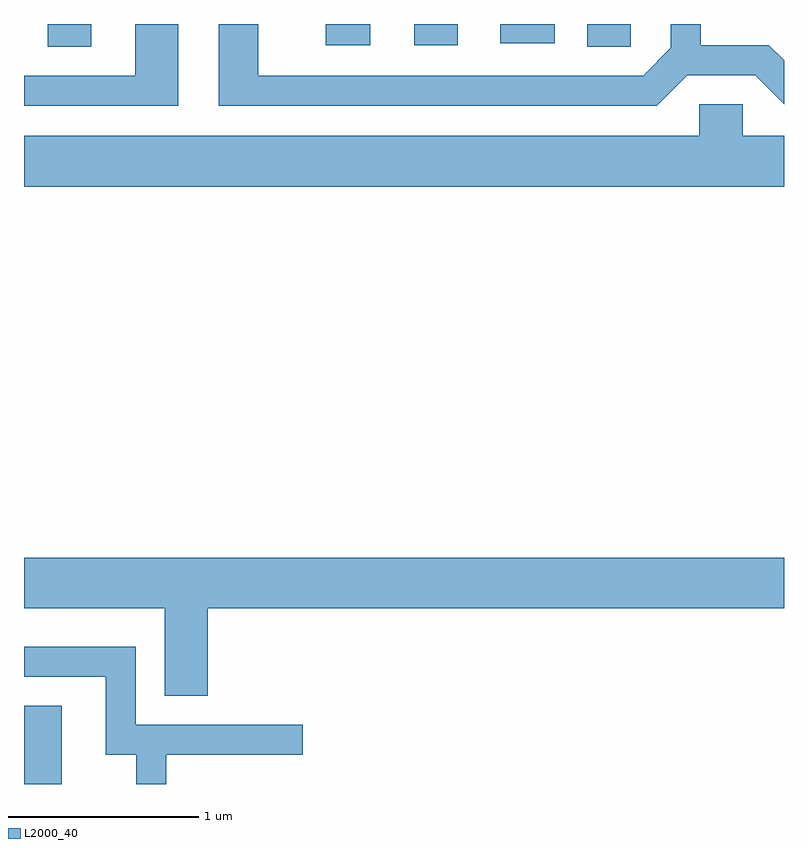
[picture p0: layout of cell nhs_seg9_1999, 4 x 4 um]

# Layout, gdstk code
import gdstk
lib = gdstk.Library(unit=1e-6, precision=1e-09)
def R(c, l, rs):  # rectangles x0, y0, x1, y1
    for r in rs: c.add(gdstk.rectangle(r[:2], r[2:], *l))
def P(c, l, *ps):  # polygons
    for p in ps: c.add(gdstk.Polygon(p, *l))
L2000_40 = (2000, 40)

nhs_seg9_1999 = lib.new_cell('nhs_seg9_1999')
R(nhs_seg9_1999, L2000_40, [(243.611,2006.432,243.809,2006.844), (243.736,2010.311,243.964,2010.432), (246.576,2010.311,246.804,2010.432), (245.198,2010.321,245.434,2010.432), (245.666,2010.321,245.894,2010.432), (246.118,2010.331,246.404,2010.432)])
P(nhs_seg9_1999, L2000_40, [(244.424,2010.432),(244.196,2010.432),(244.196,2010.159),(243.611,2010.159),(243.611,2010.001),(244.424,2010.001)],
  [(247.102,2010.161),(247.459,2010.161),(247.611,2010.009),(247.611,2010.24),(247.532,2010.319),(247.174,2010.319),(247.174,2010.432),(247.016,2010.432),(247.016,2010.307),(246.869,2010.159),(244.844,2010.159),(244.844,2010.432),(244.636,2010.432),(244.636,2010.001),(246.942,2010.001)],
  [(247.611,2009.844),(247.394,2009.844),(247.394,2010.009),(247.166,2010.009),(247.166,2009.844),(243.611,2009.844),(243.611,2009.576),(247.611,2009.576)],
  [(244.579,2007.356),(247.611,2007.356),(247.611,2007.624),(243.611,2007.624),(243.611,2007.356),(244.351,2007.356),(244.351,2006.896),(244.579,2006.896)],
  [(244.359,2006.586),(245.078,2006.586),(245.078,2006.744),(244.199,2006.744),(244.199,2007.154),(243.611,2007.154),(243.611,2006.996),(244.041,2006.996),(244.041,2006.586),(244.201,2006.586),(244.201,2006.432),(244.359,2006.432)])

lib.write_gds('nhs_seg9_1999.gds')
